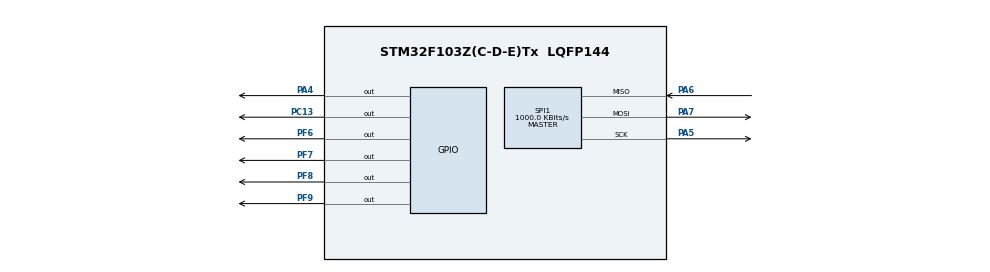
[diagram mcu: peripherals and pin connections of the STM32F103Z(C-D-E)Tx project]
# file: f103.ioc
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Mcu.Family=STM32F1
Mcu.Name=STM32F103Z(C-D-E)Tx
Mcu.Package=LQFP144
NVIC.PriorityGroup=NVIC_PRIORITYGROUP_4
OSC_IN.Mode=HSE-External-Oscillator
OSC_IN.Signal=RCC_OSC_IN
OSC_OUT.Mode=HSE-External-Oscillator
OSC_OUT.Signal=RCC_OSC_OUT
PA4.Signal=GPIO_Output
PA5.Mode=Full_Duplex_Master
PA5.Signal=SPI1_SCK
PA6.Mode=Full_Duplex_Master
PA6.Signal=SPI1_MISO
PA7.Mode=Full_Duplex_Master
PA7.Signal=SPI1_MOSI
PC13-TAMPER-RTC.Signal=GPIO_Output
PF6.Signal=GPIO_Output
PF7.Signal=GPIO_Output
PF8.Signal=GPIO_Output
PF9.Signal=GPIO_Output
ProjectManager.HeapSize=0x200
ProjectManager.StackSize=0x400
ProjectManager.TargetToolchain=MDK-ARM V4
RCC.APB1Freq_Value=8000000
RCC.APB2Freq_Value=8000000
RCC.SYSCLKSource=RCC_SYSCLKSOURCE_HSE
SPI1.BaudRatePrescaler=SPI_BAUDRATEPRESCALER_8
SPI1.CalculateBaudRate=1000.0 KBits/s
SPI1.Direction=SPI_DIRECTION_2LINES
SPI1.Mode=SPI_MODE_MASTER
SPI1.VirtualType=VM_MASTER
VP_SYS_VS_ND.Mode=No_Debug
board=f103

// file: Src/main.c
/**
  ******************************************************************************
  * File Name          : main.c
  * Description        : Main program body
  ******************************************************************************
  ** This notice applies to any and all portions of this file
  * that are not between comment pairs USER CODE BEGIN and
  * USER CODE END. Other portions of this file, whether
  * inserted by the user or by software development tools
  * are owned by their respective copyright owners.
  *
  * COPYRIGHT(c) 2018 STMicroelectronics
  *
  * Redistribution and use in source and binary forms, with or without modification,
  * are permitted provided that the following conditions are met:
  *   1. Redistributions of source code must retain the above copyright notice,
  *      this list of conditions and the following disclaimer.
  *   2. Redistributions in binary form must reproduce the above copyright notice,
  *      this list of conditions and the following disclaimer in the documentation
  *      and/or other materials provided with the distribution.
  *   3. Neither the name of STMicroelectronics nor the names of its contributors
  *      may be used to endorse or promote products derived from this software
  *      without specific prior written permission.
  *
  * THIS SOFTWARE IS PROVIDED BY THE COPYRIGHT HOLDERS AND CONTRIBUTORS "AS IS"
  * AND ANY EXPRESS OR IMPLIED WARRANTIES, INCLUDING, BUT NOT LIMITED TO, THE
  * IMPLIED WARRANTIES OF MERCHANTABILITY AND FITNESS FOR A PARTICULAR PURPOSE ARE
  * DISCLAIMED. IN NO EVENT SHALL THE COPYRIGHT HOLDER OR CONTRIBUTORS BE LIABLE
  * FOR ANY DIRECT, INDIRECT, INCIDENTAL, SPECIAL, EXEMPLARY, OR CONSEQUENTIAL
  * DAMAGES (INCLUDING, BUT NOT LIMITED TO, PROCUREMENT OF SUBSTITUTE GOODS OR
  * SERVICES; LOSS OF USE, DATA, OR PROFITS; OR BUSINESS INTERRUPTION) HOWEVER
  * CAUSED AND ON ANY THEORY OF LIABILITY, WHETHER IN CONTRACT, STRICT LIABILITY,
  * OR TORT (INCLUDING NEGLIGENCE OR OTHERWISE) ARISING IN ANY WAY OUT OF THE USE
  * OF THIS SOFTWARE, EVEN IF ADVISED OF THE POSSIBILITY OF SUCH DAMAGE.
  *
  ******************************************************************************
  */

#include "main.h"
#include "stm32f1xx_hal.h"

/* USER CODE BEGIN Includes */
#include <stdlib.h>
#include <stdint.h>
#include <stdio.h>
#include <string.h>
#include "network.h"
#include "enc28j60.h"
/* USER CODE END Includes */

SPI_HandleTypeDef hspi1;

/* USER CODE BEGIN PV */
/* Private variables ---------------------------------------------------------*/
#define PSTRV(s) ((char *)(s))
static uint8_t mymac[6] = {0x62,0x5F,0x70,0x72,0x61,0x79};
static uint8_t myip[4] = {192,168,1,234};
static uint16_t mywwwport = 80;

#define BUFFER_SIZE 1500
uint8_t buf[BUFFER_SIZE+1],browser;
uint16_t plen;
char * ptr,*chr,chr2[20];
int b1,b2,iii,ij;
/* USER CODE END PV */

void SystemClock_Config(void);
static void MX_GPIO_Init(void);
static void MX_SPI1_Init(void);

/* USER CODE BEGIN PFP */
/* Private function prototypes -----------------------------------------------*/
void sendpage(void);
void testpage(void);
uint16_t make_tcp_data_pos_var(uint8_t *buf,uint16_t pos, char *progmem_s);
void delay_us(int dly);
/* USER CODE END PFP */

int main(void)
{

  /* USER CODE BEGIN 1 */
  uint16_t dat_p;
  /* USER CODE END 1 */

  /* MCU Configuration----------------------------------------------------------*/

  /* Reset of all peripherals, Initializes the Flash interface and the Systick. */
  HAL_Init();

  /* Configure the system clock */
  SystemClock_Config();

  /* USER CODE BEGIN SysInit */
  HAL_Delay(100);
  /* USER CODE END SysInit */

  /* Initialize all configured peripherals */
  MX_GPIO_Init();
  MX_SPI1_Init();

  /* USER CODE BEGIN 2 */
    delay_us(50);
    GPIOC->ODR &= ~(1<<13);
	  delay_us(50);
    GPIOC->ODR |= (1<<13);
	  delay_us(50);
		GPIOF->ODR |= 15<<6;
    ENC28J60_Init(mymac);
		ENC28J60_ClkOut(2);
    delay_us(50);
    ENC28J60_PhyWrite(PHLCON,0x0476);
    delay_us(50);
    init_network(mymac,myip,mywwwport);
  /* USER CODE END 2 */

  /* Infinite loop */
  while (1)
  {

  /* USER CODE BEGIN 3 */
	plen = ENC28J60_PacketReceive(BUFFER_SIZE,buf);
        if(plen==0) continue;
        if(eth_is_arp(buf,plen)) {
            arp_reply(buf);
            continue;
        }
        if(eth_is_ip(buf,plen)==0) continue;
        if(buf[IP_PROTO]==IP_ICMP && buf[ICMP_TYPE]==ICMP_REQUEST) {
            icmp_reply(buf,plen);
            continue;
        }
        if(buf[IP_PROTO]==IP_TCP && buf[TCP_DST_PORT]==0 && buf[TCP_DST_PORT+1]==mywwwport) {
            if(buf[TCP_FLAGS] & TCP_SYN) {
                tcp_synack(buf);
                continue;
            }
            if(buf[TCP_FLAGS] & TCP_ACK) {
                init_len_info(buf);
                dat_p = get_tcp_data_ptr();
                if(dat_p==0) {
                    if(buf[TCP_FLAGS] & TCP_FIN) tcp_ack(buf);
                    continue;
                }

                if(strstr((char*)&(buf[dat_p]),"User Agent")) browser=0;
                else if(strstr((char*)&(buf[dat_p]),"MSIE")) browser=1;
                else browser=2;

                if(strncmp("/page",(char*)&(buf[dat_p+4]),5)==0){
                    ptr = (char*)&(buf[dat_p+4]);
                    testpage();
                    sendpage();
                    continue;
                }
            }
        }
  }
  /* USER CODE END 3 */

}

/** System Clock Configuration
*/
void SystemClock_Config(void)
{

  RCC_OscInitTypeDef RCC_OscInitStruct;
  RCC_ClkInitTypeDef RCC_ClkInitStruct;

    /**Initializes the CPU, AHB and APB busses clocks
    */
  RCC_OscInitStruct.OscillatorType = RCC_OSCILLATORTYPE_HSE;
  RCC_OscInitStruct.HSEState = RCC_HSE_ON;
  RCC_OscInitStruct.PLL.PLLState = RCC_PLL_NONE;
  if (HAL_RCC_OscConfig(&RCC_OscInitStruct) != HAL_OK)
  {
    _Error_Handler(__FILE__, __LINE__);
  }

    /**Initializes the CPU, AHB and APB busses clocks
    */
  RCC_ClkInitStruct.ClockType = RCC_CLOCKTYPE_HCLK|RCC_CLOCKTYPE_SYSCLK
                              |RCC_CLOCKTYPE_PCLK1|RCC_CLOCKTYPE_PCLK2;
  RCC_ClkInitStruct.SYSCLKSource = RCC_SYSCLKSOURCE_HSE;
  RCC_ClkInitStruct.AHBCLKDivider = RCC_SYSCLK_DIV1;
  RCC_ClkInitStruct.APB1CLKDivider = RCC_HCLK_DIV1;
  RCC_ClkInitStruct.APB2CLKDivider = RCC_HCLK_DIV1;

  if (HAL_RCC_ClockConfig(&RCC_ClkInitStruct, FLASH_LATENCY_0) != HAL_OK)
  {
    _Error_Handler(__FILE__, __LINE__);
  }

    /**Configure the Systick interrupt time
    */
  HAL_SYSTICK_Config(HAL_RCC_GetHCLKFreq()/1000);

    /**Configure the Systick
    */
  HAL_SYSTICK_CLKSourceConfig(SYSTICK_CLKSOURCE_HCLK);

  /* SysTick_IRQn interrupt configuration */
  HAL_NVIC_SetPriority(SysTick_IRQn, 0, 0);
}

/* SPI1 init function */
static void MX_SPI1_Init(void)
{

  /* SPI1 parameter configuration*/
  hspi1.Instance = SPI1;
  hspi1.Init.Mode = SPI_MODE_MASTER;
  hspi1.Init.Direction = SPI_DIRECTION_2LINES;
  hspi1.Init.DataSize = SPI_DATASIZE_8BIT;
  hspi1.Init.CLKPolarity = SPI_POLARITY_LOW;
  hspi1.Init.CLKPhase = SPI_PHASE_1EDGE;
  hspi1.Init.NSS = SPI_NSS_SOFT;
  hspi1.Init.BaudRatePrescaler = SPI_BAUDRATEPRESCALER_8;
  hspi1.Init.FirstBit = SPI_FIRSTBIT_MSB;
  hspi1.Init.TIMode = SPI_TIMODE_DISABLE;
  hspi1.Init.CRCCalculation = SPI_CRCCALCULATION_DISABLE;
  hspi1.Init.CRCPolynomial = 10;
  if (HAL_SPI_Init(&hspi1) != HAL_OK)
  {
    _Error_Handler(__FILE__, __LINE__);
  }

}

/** Configure pins as
        * Analog
        * Input
        * Output
        * EVENT_OUT
        * EXTI
*/
static void MX_GPIO_Init(void)
{

  GPIO_InitTypeDef GPIO_InitStruct;

  /* GPIO Ports Clock Enable */
  __HAL_RCC_GPIOC_CLK_ENABLE();
  __HAL_RCC_GPIOF_CLK_ENABLE();
  __HAL_RCC_GPIOA_CLK_ENABLE();

  /*Configure GPIO pin Output Level */
  HAL_GPIO_WritePin(GPIOC, GPIO_PIN_13, GPIO_PIN_RESET);

  /*Configure GPIO pin Output Level */
  HAL_GPIO_WritePin(GPIOF, GPIO_PIN_6|GPIO_PIN_7|GPIO_PIN_8|GPIO_PIN_9, GPIO_PIN_RESET);

  /*Configure GPIO pin Output Level */
  HAL_GPIO_WritePin(GPIOA, GPIO_PIN_4, GPIO_PIN_RESET);

  /*Configure GPIO pin : PC13 */
  GPIO_InitStruct.Pin = GPIO_PIN_13;
  GPIO_InitStruct.Mode = GPIO_MODE_OUTPUT_PP;
  GPIO_InitStruct.Speed = GPIO_SPEED_FREQ_LOW;
  HAL_GPIO_Init(GPIOC, &GPIO_InitStruct);

  /*Configure GPIO pins : PF6 PF7 PF8 PF9 */
  GPIO_InitStruct.Pin = GPIO_PIN_6|GPIO_PIN_7|GPIO_PIN_8|GPIO_PIN_9;
  GPIO_InitStruct.Mode = GPIO_MODE_OUTPUT_PP;
  GPIO_InitStruct.Speed = GPIO_SPEED_FREQ_LOW;
  HAL_GPIO_Init(GPIOF, &GPIO_InitStruct);

  /*Configure GPIO pin : PA4 */
  GPIO_InitStruct.Pin = GPIO_PIN_4;
  GPIO_InitStruct.Mode = GPIO_MODE_OUTPUT_PP;
  GPIO_InitStruct.Speed = GPIO_SPEED_FREQ_LOW;
  HAL_GPIO_Init(GPIOA, &GPIO_InitStruct);

}

/* USER CODE BEGIN 4 */
uint16_t make_tcp_data_pos_var(uint8_t *buf,uint16_t pos, char *progmem_s) {
    char c;
    while((c = *(progmem_s++))) {
        buf[TCP_CHECKSUM+4+pos] = c;
        pos++;
    }
    return(pos);
}
void testpage(void) {
  static  int rn = 0, ix;
	char str[10];
	for(ix=4;((*(ptr+ix))!=0)&&(ix<10) ;ix++)
	{
		if(((*(ptr+ix-4))=='o') && ((*(ptr+ix-3))=='n') && ((*(ptr+ix-2))=='=') && ((*(ptr+ix-1))=='0') && ((*(ptr+ix-0))=='1')){GPIOF->ODR &= ~(1<<6);plen=make_tcp_data_pos_var(buf,0,PSTRV("<!doctype html><head><script>function sleep(milliseconds){var start = new Date().getTime();for (var i=0;i<1e7;i++){if ((new Date().getTime()-start)>milliseconds){break;}}} sleep(400);"));plen=make_tcp_data_pos_var(buf,plen,PSTRV(" document.location.href=\"/page\"</script></head>"));return;}

		if(((*(ptr+ix-4))=='o') && ((*(ptr+ix-3))=='f') && ((*(ptr+ix-2))=='=') && ((*(ptr+ix-1))=='0') && ((*(ptr+ix-0))=='1')){GPIOF->ODR |= (1<<6);plen=make_tcp_data_pos_var(buf,0,PSTRV("<!doctype html><head><script>function sleep(milliseconds){var start = new Date().getTime();for (var i=0;i<1e7;i++){if ((new Date().getTime()-start)>milliseconds){break;}}} sleep(400);"));plen=make_tcp_data_pos_var(buf,plen,PSTRV(" document.location.href=\"/page\"</script></head>"));return;}

		if(((*(ptr+ix-4))=='o') && ((*(ptr+ix-3))=='n') && ((*(ptr+ix-2))=='=') && ((*(ptr+ix-1))=='0') && ((*(ptr+ix-0))=='2')){GPIOF->ODR &= ~(1<<7);plen=make_tcp_data_pos_var(buf,0,PSTRV("<!doctype html><head><script>function sleep(milliseconds){var start = new Date().getTime();for (var i=0;i<1e7;i++){if ((new Date().getTime()-start)>milliseconds){break;}}} sleep(400);"));plen=make_tcp_data_pos_var(buf,plen,PSTRV(" document.location.href=\"/page\"</script></head>"));return;}

		if(((*(ptr+ix-4))=='o') && ((*(ptr+ix-3))=='f') && ((*(ptr+ix-2))=='=') && ((*(ptr+ix-1))=='0') && ((*(ptr+ix-0))=='2')){GPIOF->ODR |= (1<<7);plen=make_tcp_data_pos_var(buf,0,PSTRV("<!doctype html><head><script>function sleep(milliseconds){var start = new Date().getTime();for (var i=0;i<1e7;i++){if ((new Date().getTime()-start)>milliseconds){break;}}} sleep(400);"));plen=make_tcp_data_pos_var(buf,plen,PSTRV(" document.location.href=\"/page\"</script></head>"));return;}

	  if(((*(ptr+ix-4))=='o') && ((*(ptr+ix-3))=='n') && ((*(ptr+ix-2))=='=') && ((*(ptr+ix-1))=='0') && ((*(ptr+ix-0))=='3')){GPIOF->ODR &= ~(1<<8);plen=make_tcp_data_pos_var(buf,0,PSTRV("<!doctype html><head><script>function sleep(milliseconds){var start = new Date().getTime();for (var i=0;i<1e7;i++){if ((new Date().getTime()-start)>milliseconds){break;}}} sleep(400);"));plen=make_tcp_data_pos_var(buf,plen,PSTRV(" document.location.href=\"/page\"</script></head>"));return;}

		if(((*(ptr+ix-4))=='o') && ((*(ptr+ix-3))=='f') && ((*(ptr+ix-2))=='=') && ((*(ptr+ix-1))=='0') && ((*(ptr+ix-0))=='3')){GPIOF->ODR |= (1<<8);plen=make_tcp_data_pos_var(buf,0,PSTRV("<!doctype html><head><script>function sleep(milliseconds){var start = new Date().getTime();for (var i=0;i<1e7;i++){if ((new Date().getTime()-start)>milliseconds){break;}}} sleep(400);"));plen=make_tcp_data_pos_var(buf,plen,PSTRV(" document.location.href=\"/page\"</script></head>"));return;}

	  if(((*(ptr+ix-4))=='o') && ((*(ptr+ix-3))=='n') && ((*(ptr+ix-2))=='=') && ((*(ptr+ix-1))=='0') && ((*(ptr+ix-0))=='4')){GPIOF->ODR &= ~(1<<9);plen=make_tcp_data_pos_var(buf,0,PSTRV("<!doctype html><head><script>function sleep(milliseconds){var start = new Date().getTime();for (var i=0;i<1e7;i++){if ((new Date().getTime()-start)>milliseconds){break;}}} sleep(400);"));plen=make_tcp_data_pos_var(buf,plen,PSTRV(" document.location.href=\"/page\"</script></head>"));return;}

		if(((*(ptr+ix-4))=='o') && ((*(ptr+ix-3))=='f') && ((*(ptr+ix-2))=='=') && ((*(ptr+ix-1))=='0') && ((*(ptr+ix-0))=='4')){GPIOF->ODR |= (1<<9);plen=make_tcp_data_pos_var(buf,0,PSTRV("<!doctype html><head><script>function sleep(milliseconds){var start = new Date().getTime();for (var i=0;i<1e7;i++){if ((new Date().getTime()-start)>milliseconds){break;}}} sleep(400);"));plen=make_tcp_data_pos_var(buf,plen,PSTRV(" document.location.href=\"/page\"</script></head>"));return;}
	}
	rn++;
	sprintf(str,"  %d",rn);
	plen=make_tcp_data_pos_var(buf,0,PSTRV("<!doctype html><html>"
	"<head><script>function f(i,th){if(i!=\'\'){if(th.checked)str=\"n=0\"+i;else str=\"f=0\"+i;}else str=\"\";document.location.href=\"/pageo\"+str;}</script><style>#myc{background:blue;padding:30px;}body{font-size:50px;background:blue;color:white;}input{width:150px;-ms-transform:scale(5,5);-webkit-transform:scale(5,5);transform:scale(5,5);margin:30px 5px 0px 10px;}input #but{margin-top:20px;}#butt{margin:20px 0px 150px 150px;}</style></head>"
	"<body>"
	"<div id=\"myc\"><input type=\"checkbox\" onclick=\"f(\'1\',this);\""
	));if(!(GPIOF->ODR & (1<<6))) plen=make_tcp_data_pos_var(buf,plen,PSTRV(" checked "));
	plen=make_tcp_data_pos_var(buf,plen,PSTRV(">LED1<br><input type=\"checkbox\" onclick=\"f(\'2\',this);\""
	));if(!(GPIOF->ODR & (1<<7))) plen=make_tcp_data_pos_var(buf,plen,PSTRV(" checked "));
	plen=make_tcp_data_pos_var(buf,plen,PSTRV(">LED2<br><input type=\"checkbox\" onclick=\"f(\'3\',this);\""
	));if(!(GPIOF->ODR & (1<<8))) plen=make_tcp_data_pos_var(buf,plen,PSTRV(" checked "));
	plen=make_tcp_data_pos_var(buf,plen,PSTRV(">LED3<br><input type=\"checkbox\" onclick=\"f(\'4\',this);\""
	));if(!(GPIOF->ODR & (1<<9))) plen=make_tcp_data_pos_var(buf,plen,PSTRV(" checked "));
	plen=make_tcp_data_pos_var(buf,plen,PSTRV(">LED4<br></div><div id=\"butt\"><input type=\"button\" value=\"Refresh\" onclick=\"f(\'\');\">"
	"</div>"
	"<div style=\"background: black; color: white;\">"
	"<h1>"));
	plen=make_tcp_data_pos_var(buf,plen,PSTRV(str));
	plen=make_tcp_data_pos_var(buf,plen,PSTRV("</h1></div>"
	"</body>"
	"</html>"));

}
void sendpage(void) {
    tcp_ack(buf);
    tcp_ack_with_data(buf,plen);
}
void delay_us(int dly)
{
  int i;
  while(dly--)
  {
    i=2;
    while(i--);
  }
}
/* USER CODE END 4 */

void _Error_Handler(char * file, int line)
{
  while(1)
  {
	}
}

/************************ (C) COPYRIGHT STMicroelectronics *****END OF FILE****/
